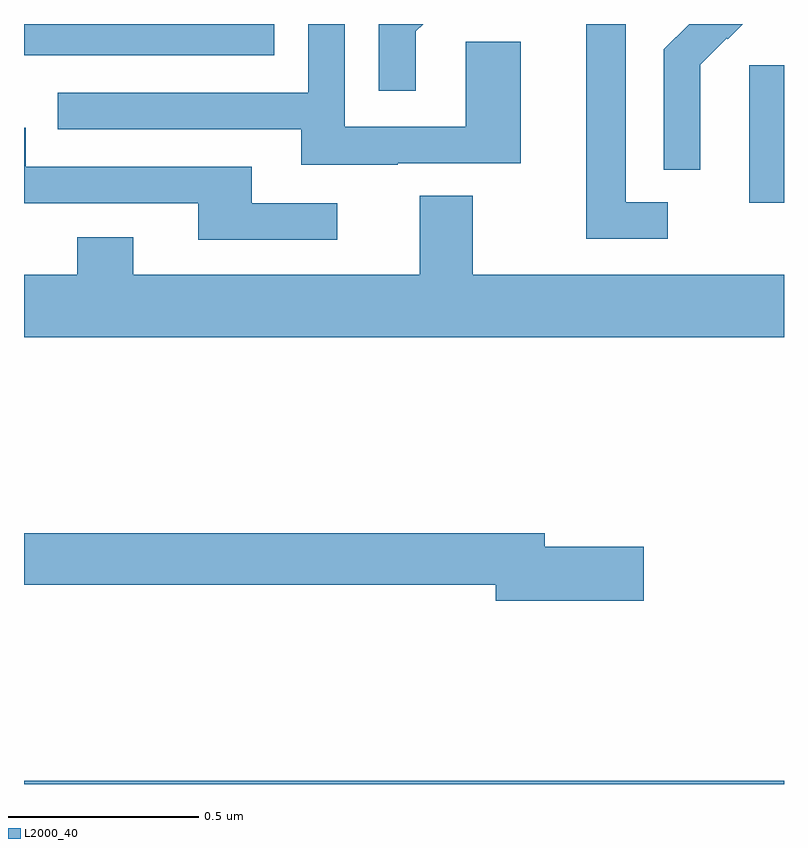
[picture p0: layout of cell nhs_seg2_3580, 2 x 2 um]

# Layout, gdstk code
import gdstk
lib = gdstk.Library(unit=1e-6, precision=1e-09)
def R(c, l, rs):  # rectangles x0, y0, x1, y1
    for r in rs: c.add(gdstk.rectangle(r[:2], r[2:], *l))
def P(c, l, *ps):  # polygons
    for p in ps: c.add(gdstk.Polygon(p, *l))
L2000_40 = (2000, 40)

nhs_seg2_3580 = lib.new_cell('nhs_seg2_3580')
R(nhs_seg2_3580, L2000_40, [(155,639.8,157,639.808), (156.908,641.33,157,641.691), (155,641.718,155.658,641.8)])
P(nhs_seg2_3580, L2000_40, [(156.78,641.57),(156.779,641.57),(156.779,641.693),(156.849,641.763),(156.852,641.76),(156.892,641.8),(156.75,641.8),(156.684,641.734),(156.684,641.416),(156.78,641.416)],
  [(155.983,641.433),(156.307,641.433),(156.307,641.753),(156.162,641.753),(156.162,641.529),(155.844,641.529),(155.844,641.8),(155.748,641.8),(155.748,641.619),(155.089,641.619),(155.089,641.523),(155.729,641.523),(155.729,641.429),(155.983,641.429)],
  [(156.031,641.781),(156.05,641.8),(155.934,641.8),(155.934,641.625),(156.031,641.625)],
  [(156.694,641.331),(156.583,641.331),(156.583,641.8),(156.479,641.8),(156.479,641.235),(156.694,641.235)],
  [(155.824,641.328),(155.599,641.328),(155.599,641.424),(155.004,641.424),(155.004,641.527),(155,641.527),(155,641.328),(155.459,641.328),(155.459,641.232),(155.824,641.232)],
  [(157,641.14),(156.181,641.14),(156.181,641.348),(156.041,641.348),(156.041,641.14),(155.287,641.14),(155.287,641.239),(155.14,641.239),(155.14,641.14),(155,641.14),(155,640.976),(157,640.976)],
  [(156.631,640.424),(156.37,640.424),(156.37,640.46),(155,640.46),(155,640.324),(156.242,640.324),(156.242,640.282),(156.631,640.282)])

lib.write_gds('nhs_seg2_3580.gds')
